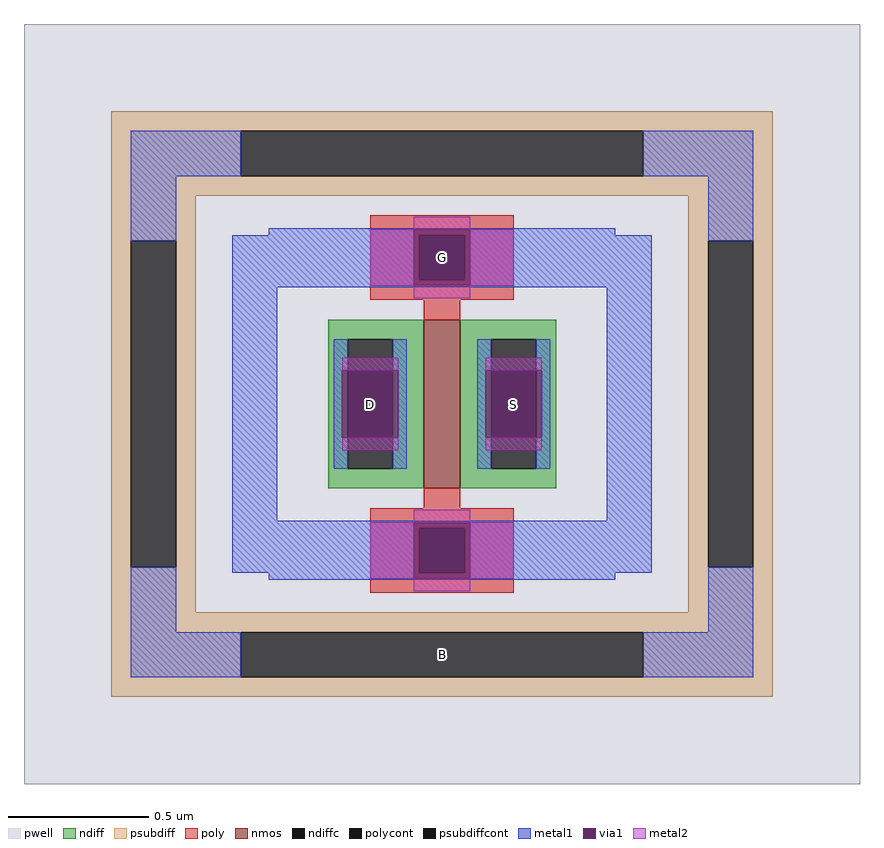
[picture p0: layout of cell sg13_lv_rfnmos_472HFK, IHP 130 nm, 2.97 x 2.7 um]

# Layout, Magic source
magic
tech ihp-sg13g2
magscale 1 2
<< pwell >>
rect -297 -270 297 270
<< nmos >>
rect -13 -60 13 60
<< ndiff >>
rect -81 46 -13 60
rect -81 -46 -67 46
rect -35 -46 -13 46
rect -81 -60 -13 -46
rect 13 46 81 60
rect 13 -46 35 46
rect 67 -46 81 46
rect 13 -60 81 -46
<< ndiffc >>
rect -67 -46 -35 46
rect 35 -46 67 46
<< psubdiff >>
rect -235 194 235 208
rect -235 162 -143 194
rect 143 162 235 194
rect -235 148 235 162
rect -235 116 -175 148
rect -235 -116 -221 116
rect -189 -116 -175 116
rect 175 116 235 148
rect -235 -148 -175 -116
rect 175 -116 189 116
rect 221 -116 235 116
rect 175 -148 235 -116
rect -235 -162 235 -148
rect -235 -194 -143 -162
rect 143 -194 235 -162
rect -235 -208 235 -194
<< psubdiffcont >>
rect -143 162 143 194
rect -221 -116 -189 116
rect 189 -116 221 116
rect -143 -194 143 -162
<< poly >>
rect -51 120 51 134
rect -51 88 -16 120
rect 16 88 51 120
rect -51 74 51 88
rect -13 60 13 74
rect -13 -74 13 -60
rect -51 -88 51 -74
rect -51 -120 -16 -88
rect 16 -120 51 -88
rect -51 -134 51 -120
<< polycont >>
rect -16 88 16 120
rect -16 -120 16 -88
<< metal1 >>
rect -221 162 -143 194
rect 143 162 221 194
rect -221 116 -189 162
rect -123 124 123 125
rect -123 120 -20 124
rect 20 120 123 124
rect -221 -162 -189 -116
rect -149 84 -20 120
rect 20 84 149 120
rect -149 83 149 84
rect -149 -83 -117 83
rect -77 24 -67 46
rect -35 24 -25 46
rect -77 -24 -71 24
rect -31 -24 -25 24
rect -77 -46 -67 -24
rect -35 -46 -25 -24
rect 25 24 35 46
rect 67 24 77 46
rect 25 -24 31 24
rect 71 -24 77 24
rect 25 -46 35 -24
rect 67 -46 77 -24
rect 117 -83 149 83
rect -149 -84 149 -83
rect -149 -120 -20 -84
rect 20 -120 149 -84
rect 189 116 221 162
rect -123 -124 -20 -120
rect 20 -124 123 -120
rect -123 -125 123 -124
rect 189 -162 221 -116
rect -221 -194 -143 -162
rect 143 -194 221 -162
<< via1 >>
rect -20 120 20 124
rect -20 88 -16 120
rect -16 88 16 120
rect 16 88 20 120
rect -20 84 20 88
rect -71 -24 -67 24
rect -67 -24 -35 24
rect -35 -24 -31 24
rect 31 -24 35 24
rect 35 -24 67 24
rect 67 -24 71 24
rect -20 -88 20 -84
rect -20 -120 -16 -88
rect -16 -120 16 -88
rect 16 -120 20 -88
rect -20 -124 20 -120
<< metal2 >>
rect -20 124 20 133
rect -51 84 -20 124
rect 20 84 51 124
rect -20 75 20 84
rect -71 24 -31 33
rect -71 -33 -31 -24
rect 31 24 71 33
rect 31 -33 71 -24
rect -20 -84 20 -75
rect -51 -124 -20 -84
rect 20 -124 51 -84
rect -20 -133 20 -124
<< labels >>
rlabel psubdiffcont 0 -178 0 -178 0 B
port 1 nsew
rlabel ndiffc -51 0 -51 0 0 D
port 2 nsew
rlabel ndiffc 51 0 51 0 0 S
port 3 nsew
rlabel polycont 0 104 0 104 0 G
port 4 nsew
<< properties >>
string FIXED_BBOX -205 -178 205 178
string gencell sg13_lv_rfnmos
string library sg13g2
string parameters w 0.6 l 0.13 m 1 nf 1 diffcov 100 polycov 100 glc 1 grc 1 gtc 1 gbc 1 tbcov 100 rlcov 100 poverlap 0 doverlap 1 lmin 0.13 wmin 0.15 class mosfet compatible {sg13_lv_rfnmos sg13_hv_rfnmos} full_metal 1 doports 1 viasrc 100 viadrn 100 viagate 100 ccols 1 viagb 0 viagr 0 viagl 0 viagt 0 botc {} topc {}
<< end >>
